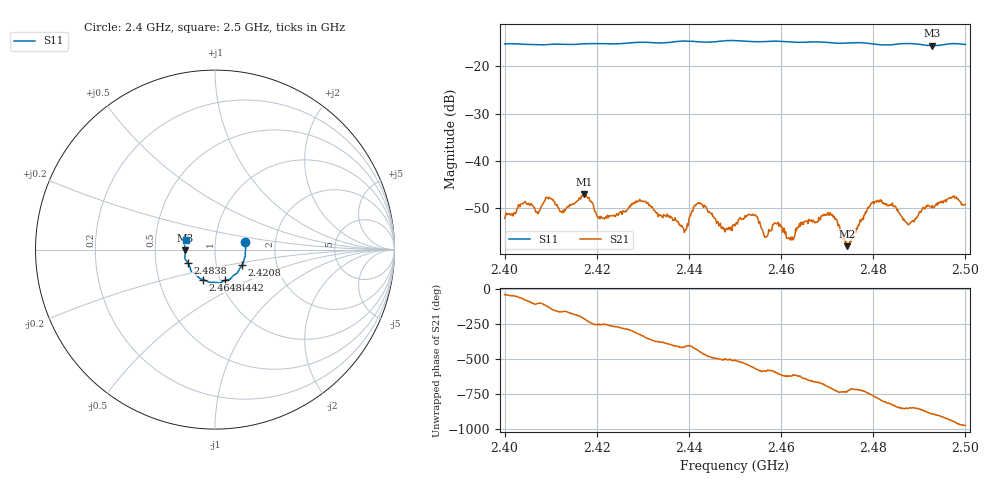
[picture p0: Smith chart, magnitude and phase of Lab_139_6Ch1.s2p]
# Hz S RI R 50
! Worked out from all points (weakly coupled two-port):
!   601 points, 2.4 GHz to 2.5 GHz, reference 50 ohm
!   highest |S21| = -47.04 dB at 2.4172 GHz (marker M1); lowest = -58.1 dB at 2.4743 GHz (marker M2)
!   lowest |S11| = -15.6 dB at 2.4928 GHz (marker M3), VSWR 1.40, Z = 35.8 - j0.347 ohm
!   |S11| at or under -10 dB: start of sweep to end of sweep
!   S12 and S22 are empty: the file has one direction only
!   S11 on the Smith chart (normalised r, x): 2.4 GHz: 1.40, +0.12; 2.4208 GHz: 1.33, -0.24; 2.4442 GHz: 1.05, -0.37; 2.4648 GHz: 0.83, -0.28; 2.4838 GHz: 0.73, -0.11; 2.5 GHz: 0.72, +0.08
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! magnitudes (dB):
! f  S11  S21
! 2.4 GHz  -15.3  -52.2
! 2.4167 GHz  -15.2  -47.4
! 2.4172 GHz  -15.2  -47.0
! 2.4208 GHz  -15.2  -51.8
! 2.4293 GHz  -14.9  -48.2
! 2.4333 GHz  -15.0  -51.9
! 2.439 GHz  -14.6  -55.2
! 2.4415 GHz  -14.8  -49.5
! 2.4442 GHz  -14.9  -50.9
! 2.45 GHz  -14.5  -53.8
! 2.4542 GHz  -14.8  -51.6
! 2.4622 GHz  -14.8  -56.2
! 2.4648 GHz  -14.9  -53.5
! 2.4667 GHz  -14.8  -52.5
! 2.471 GHz  -15.0  -51.5
! 2.4743 GHz  -15.1  -58.1
! 2.4795 GHz  -15.2  -49.1
! 2.4833 GHz  -15.5  -49.5
! 2.4838 GHz  -15.4  -49.3
! 2.4877 GHz  -15.1  -53.6
! 2.4928 GHz  -15.6  -49.5
! 2.5 GHz  -15.4  -49.3
